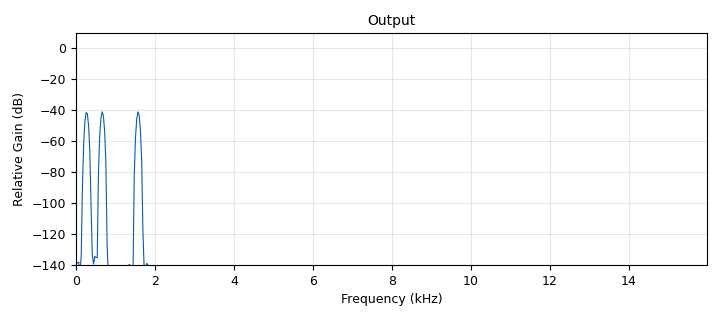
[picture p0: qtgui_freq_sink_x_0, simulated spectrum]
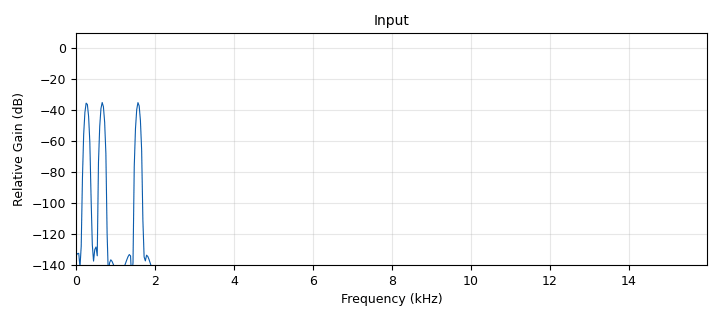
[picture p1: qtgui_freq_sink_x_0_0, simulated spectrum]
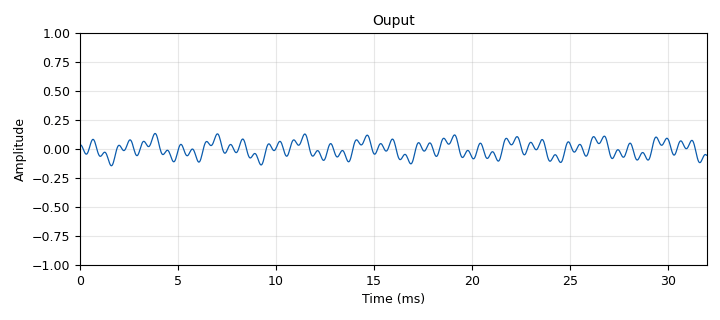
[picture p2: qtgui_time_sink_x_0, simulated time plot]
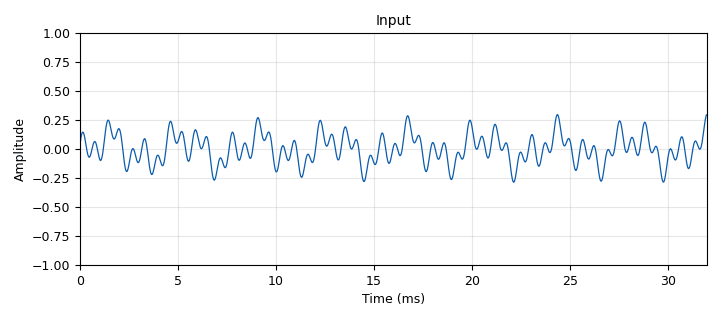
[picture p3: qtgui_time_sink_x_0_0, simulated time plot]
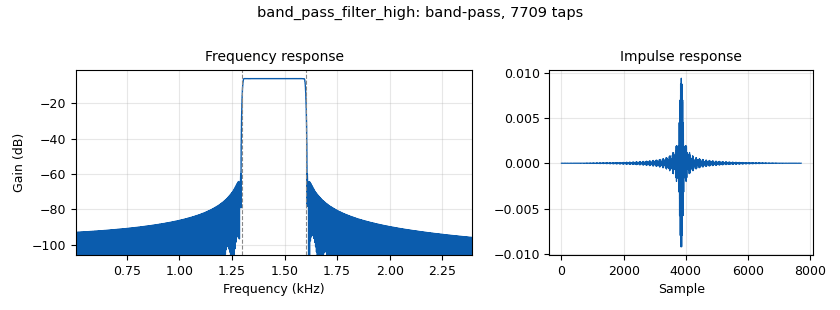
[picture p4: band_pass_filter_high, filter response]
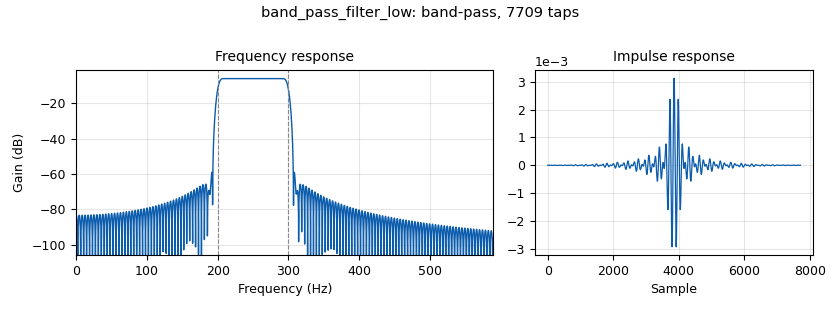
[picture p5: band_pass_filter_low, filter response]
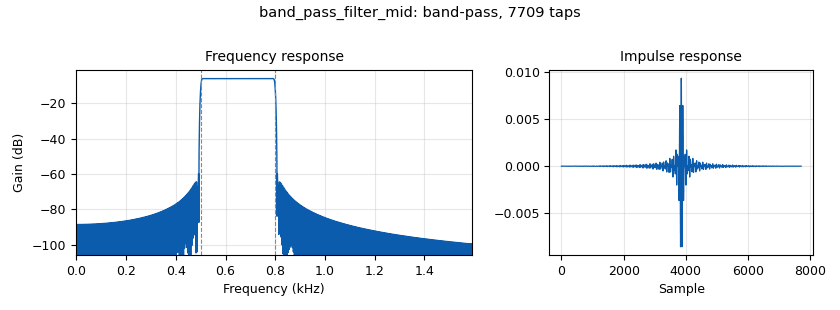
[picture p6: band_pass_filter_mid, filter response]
<?xml version='1.0' encoding='utf-8'?>
<?grc format='1' created='3.7.13'?>
<flow_graph>
<block>
<key>options</key>
<param><key>id</key><value>top_block</value></param>
<param><key>generate_options</key><value>qt_gui</value></param>
</block>
<block>
<key>variable_qtgui_range</key>
<param><key>id</key><value>high_gain</value></param>
<param><key>value</key><value>0.5</value></param>
<param><key>gui_hint</key><value>1,1</value></param>
<param><key>orient</key><value>Qt.Horizontal</value></param>
<param><key>start</key><value>0</value></param>
<param><key>step</key><value>0.5</value></param>
<param><key>stop</key><value>20</value></param>
</block>
<block>
<key>variable_qtgui_range</key>
<param><key>id</key><value>low_gain</value></param>
<param><key>value</key><value>0.5</value></param>
<param><key>gui_hint</key><value>1,0</value></param>
<param><key>orient</key><value>Qt.Horizontal</value></param>
<param><key>start</key><value>0</value></param>
<param><key>step</key><value>0.5</value></param>
<param><key>stop</key><value>20</value></param>
</block>
<block>
<key>variable_qtgui_range</key>
<param><key>id</key><value>mid_gain</value></param>
<param><key>value</key><value>0.5</value></param>
<param><key>gui_hint</key><value>2,0,1,2</value></param>
<param><key>orient</key><value>Qt.Horizontal</value></param>
<param><key>start</key><value>0</value></param>
<param><key>step</key><value>0.5</value></param>
<param><key>stop</key><value>20</value></param>
</block>
<block>
<key>variable</key>
<param><key>id</key><value>samp_rate</value></param>
<param><key>value</key><value>32000</value></param>
</block>
<block>
<key>analog_sig_source_x</key>
<param><key>id</key><value>analog_sig_source_x_0</value></param>
<param><key>amp</key><value>0.1</value></param>
<param><key>freq</key><value>261.6</value></param>
<param><key>offset</key><value>0</value></param>
<param><key>type</key><value>float</value></param>
<param><key>samp_rate</key><value>samp_rate</value></param>
<param><key>waveform</key><value>analog.GR_COS_WAVE</value></param>
</block>
<block>
<key>analog_sig_source_x</key>
<param><key>id</key><value>analog_sig_source_x_0_0</value></param>
<param><key>amp</key><value>0.1</value></param>
<param><key>freq</key><value>1568</value></param>
<param><key>offset</key><value>0</value></param>
<param><key>type</key><value>float</value></param>
<param><key>samp_rate</key><value>samp_rate</value></param>
<param><key>waveform</key><value>analog.GR_COS_WAVE</value></param>
</block>
<block>
<key>analog_sig_source_x</key>
<param><key>id</key><value>analog_sig_source_x_0_1</value></param>
<param><key>amp</key><value>0.1</value></param>
<param><key>freq</key><value>659.2</value></param>
<param><key>offset</key><value>0</value></param>
<param><key>type</key><value>float</value></param>
<param><key>samp_rate</key><value>samp_rate</value></param>
<param><key>waveform</key><value>analog.GR_COS_WAVE</value></param>
</block>
<block>
<key>audio_sink</key>
<param><key>id</key><value>audio_sink_0</value></param>
<param><key>samp_rate</key><value>samp_rate</value></param>
</block>
<block>
<key>band_pass_filter</key>
<param><key>id</key><value>band_pass_filter_high</value></param>
<param><key>decim</key><value>1</value></param>
<param><key>type</key><value>fir_filter_fff</value></param>
<param><key>gain</key><value>high_gain</value></param>
<param><key>high_cutoff_freq</key><value>1600</value></param>
<param><key>low_cutoff_freq</key><value>1300</value></param>
<param><key>samp_rate</key><value>samp_rate</value></param>
<param><key>width</key><value>10</value></param>
<param><key>win</key><value>firdes.WIN_HAMMING</value></param>
</block>
<block>
<key>band_pass_filter</key>
<param><key>id</key><value>band_pass_filter_low</value></param>
<param><key>decim</key><value>1</value></param>
<param><key>type</key><value>fir_filter_fff</value></param>
<param><key>gain</key><value>low_gain</value></param>
<param><key>high_cutoff_freq</key><value>300</value></param>
<param><key>low_cutoff_freq</key><value>200</value></param>
<param><key>samp_rate</key><value>samp_rate</value></param>
<param><key>width</key><value>10</value></param>
<param><key>win</key><value>firdes.WIN_HAMMING</value></param>
</block>
<block>
<key>band_pass_filter</key>
<param><key>id</key><value>band_pass_filter_mid</value></param>
<param><key>decim</key><value>1</value></param>
<param><key>type</key><value>fir_filter_fff</value></param>
<param><key>gain</key><value>mid_gain</value></param>
<param><key>high_cutoff_freq</key><value>800</value></param>
<param><key>low_cutoff_freq</key><value>500</value></param>
<param><key>samp_rate</key><value>samp_rate</value></param>
<param><key>width</key><value>10</value></param>
<param><key>win</key><value>firdes.WIN_HAMMING</value></param>
</block>
<block>
<key>blocks_add_xx</key>
<param><key>id</key><value>blocks_add_xx_0</value></param>
<param><key>type</key><value>float</value></param>
<param><key>num_inputs</key><value>3</value></param>
</block>
<block>
<key>blocks_add_xx</key>
<param><key>id</key><value>blocks_add_xx_0_0</value></param>
<param><key>type</key><value>float</value></param>
<param><key>num_inputs</key><value>3</value></param>
</block>
<block>
<key>qtgui_freq_sink_x</key>
<param><key>id</key><value>qtgui_freq_sink_x_0</value></param>
<param><key>bw</key><value>samp_rate</value></param>
<param><key>fc</key><value>0</value></param>
<param><key>ctrlpanel</key><value>True</value></param>
<param><key>fftsize</key><value>1024</value></param>
<param><key>gui_hint</key><value>3,1</value></param>
<param><key>name</key><value>"Output"</value></param>
<param><key>showports</key><value>True</value></param>
<param><key>freqhalf</key><value>False</value></param>
<param><key>type</key><value>float</value></param>
<param><key>wintype</key><value>firdes.WIN_BLACKMAN_hARRIS</value></param>
</block>
<block>
<key>qtgui_freq_sink_x</key>
<param><key>id</key><value>qtgui_freq_sink_x_0_0</value></param>
<param><key>bw</key><value>samp_rate</value></param>
<param><key>fc</key><value>0</value></param>
<param><key>ctrlpanel</key><value>True</value></param>
<param><key>fftsize</key><value>1024</value></param>
<param><key>gui_hint</key><value>3,0 </value></param>
<param><key>name</key><value>"Input"</value></param>
<param><key>showports</key><value>True</value></param>
<param><key>freqhalf</key><value>False</value></param>
<param><key>type</key><value>float</value></param>
<param><key>wintype</key><value>firdes.WIN_BLACKMAN_hARRIS</value></param>
</block>
<block>
<key>qtgui_time_sink_x</key>
<param><key>id</key><value>qtgui_time_sink_x_0</value></param>
<param><key>ctrlpanel</key><value>True</value></param>
<param><key>gui_hint</key><value>0,1</value></param>
<param><key>color1</key><value>"blue"</value></param>
<param><key>label1</key><value></value></param>
<param><key>name</key><value>"Ouput"</value></param>
<param><key>size</key><value>1024</value></param>
<param><key>srate</key><value>samp_rate</value></param>
<param><key>type</key><value>float</value></param>
</block>
<block>
<key>qtgui_time_sink_x</key>
<param><key>id</key><value>qtgui_time_sink_x_0_0</value></param>
<param><key>ctrlpanel</key><value>True</value></param>
<param><key>gui_hint</key><value>0,0</value></param>
<param><key>color1</key><value>"blue"</value></param>
<param><key>label1</key><value></value></param>
<param><key>name</key><value>"Input"</value></param>
<param><key>size</key><value>1024</value></param>
<param><key>srate</key><value>samp_rate</value></param>
<param><key>type</key><value>float</value></param>
</block>
<connection><source_block_id>analog_sig_source_x_0</source_block_id><sink_block_id>blocks_add_xx_0</sink_block_id><source_key>0</source_key><sink_key>0</sink_key></connection>
<connection><source_block_id>analog_sig_source_x_0_0</source_block_id><sink_block_id>blocks_add_xx_0</sink_block_id><source_key>0</source_key><sink_key>2</sink_key></connection>
<connection><source_block_id>analog_sig_source_x_0_1</source_block_id><sink_block_id>blocks_add_xx_0</sink_block_id><source_key>0</source_key><sink_key>1</sink_key></connection>
<connection><source_block_id>band_pass_filter_high</source_block_id><sink_block_id>blocks_add_xx_0_0</sink_block_id><source_key>0</source_key><sink_key>2</sink_key></connection>
<connection><source_block_id>band_pass_filter_low</source_block_id><sink_block_id>blocks_add_xx_0_0</sink_block_id><source_key>0</source_key><sink_key>0</sink_key></connection>
<connection><source_block_id>band_pass_filter_mid</source_block_id><sink_block_id>blocks_add_xx_0_0</sink_block_id><source_key>0</source_key><sink_key>1</sink_key></connection>
<connection><source_block_id>blocks_add_xx_0</source_block_id><sink_block_id>band_pass_filter_high</sink_block_id><source_key>0</source_key><sink_key>0</sink_key></connection>
<connection><source_block_id>blocks_add_xx_0</source_block_id><sink_block_id>band_pass_filter_low</sink_block_id><source_key>0</source_key><sink_key>0</sink_key></connection>
<connection><source_block_id>blocks_add_xx_0</source_block_id><sink_block_id>band_pass_filter_mid</sink_block_id><source_key>0</source_key><sink_key>0</sink_key></connection>
<connection><source_block_id>blocks_add_xx_0</source_block_id><sink_block_id>qtgui_freq_sink_x_0_0</sink_block_id><source_key>0</source_key><sink_key>0</sink_key></connection>
<connection><source_block_id>blocks_add_xx_0</source_block_id><sink_block_id>qtgui_time_sink_x_0_0</sink_block_id><source_key>0</source_key><sink_key>0</sink_key></connection>
<connection><source_block_id>blocks_add_xx_0_0</source_block_id><sink_block_id>audio_sink_0</sink_block_id><source_key>0</source_key><sink_key>0</sink_key></connection>
<connection><source_block_id>blocks_add_xx_0_0</source_block_id><sink_block_id>qtgui_freq_sink_x_0</sink_block_id><source_key>0</source_key><sink_key>0</sink_key></connection>
<connection><source_block_id>blocks_add_xx_0_0</source_block_id><sink_block_id>qtgui_time_sink_x_0</sink_block_id><source_key>0</source_key><sink_key>0</sink_key></connection>
</flow_graph>
